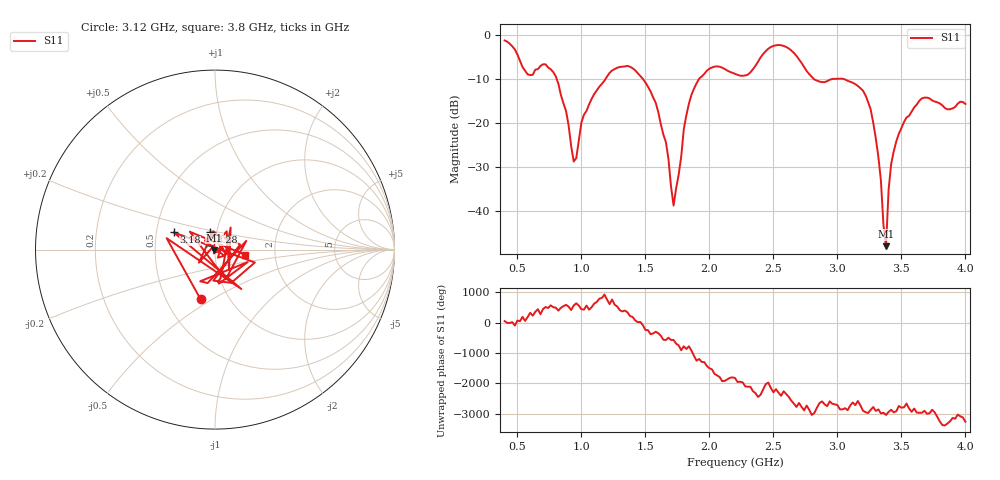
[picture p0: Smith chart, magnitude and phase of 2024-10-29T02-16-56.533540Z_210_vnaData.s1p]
!Created with skrf (http://scikit-rf.org).
# Hz S RI R 50.0
!freq ReS11 ImS11
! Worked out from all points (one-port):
!   181 points, 400 MHz to 4 GHz, reference 50 ohm
!   lowest |S11| = -48.0 dB at 3.38 GHz (marker M1), VSWR 1.01, Z = 49.6 - j0.161 ohm
!   |S11| at or under -10 dB: 807.4 MHz to 1.188 GHz (380.6 MHz wide, 38.1 % of centre); 1.482 GHz to 1.918 GHz (436.4 MHz wide, 25.7 % of centre); 3.05 GHz to end of sweep (the widest 3 of 4)
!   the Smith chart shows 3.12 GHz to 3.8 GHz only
!   S11 on the Smith chart (normalised r, x): 3.12 GHz: 0.74, -0.44; 3.18 GHz: 0.62, +0.13; 3.28 GHz: 0.93, +0.18; 3.8 GHz: 1.39, -0.08
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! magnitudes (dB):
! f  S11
! 400 MHz  -1.2
! 580 MHz  -8.9
! 760 MHz  -7.8
! 860 MHz  -15.5
! 940 MHz  -28.7
! 1.08 GHz  -14.5
! 1.3 GHz  -7.2
! 1.58 GHz  -15.3
! 1.66 GHz  -24.3
! 1.72 GHz  -38.8
! 1.76 GHz  -31.7
! 1.82 GHz  -18.2
! 1.92 GHz  -9.9
! 2.2 GHz  -8.8
! 2.5 GHz  -2.5
! 2.66 GHz  -4.0
! 2.82 GHz  -10.1
! 3.1 GHz  -10.6
! 3.12 GHz  -10.8
! 3.18 GHz  -12.1
! 3.28 GHz  -19.9
! 3.34 GHz  -33.1
! 3.38 GHz  -48.0
! 3.4 GHz  -35.2
! 3.42 GHz  -29.3
! 3.56 GHz  -18.4
! 3.8 GHz  -15.5
! 4 GHz  -15.7
